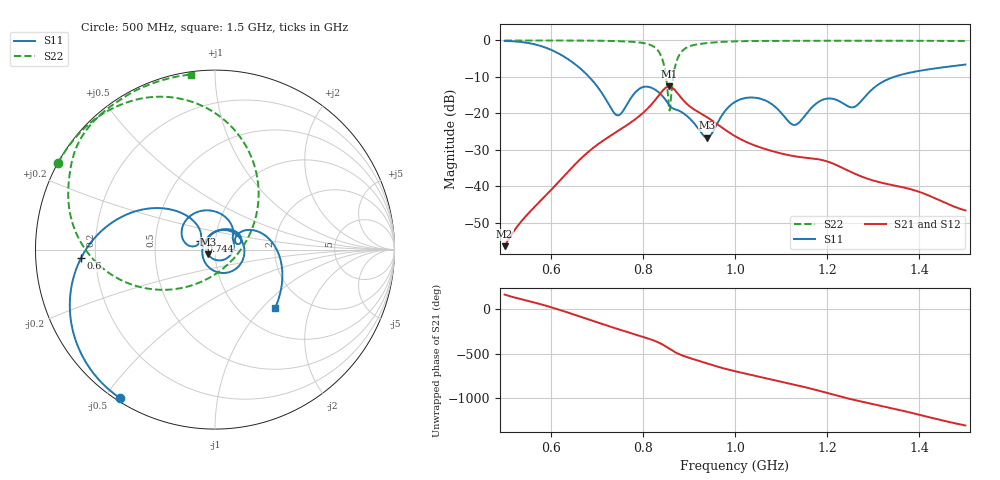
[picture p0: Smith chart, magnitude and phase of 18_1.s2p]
! TOUCHSTONE file generated by CST MICROWAVE STUDIO
! Date and time: Fri Oct  2 18:39:40 2020
! Project name: Scenario_1_Free_Space_out_of_line.cst
! Parameters = {Lambda=346.42; Step_1=17.321; dy1=52.843; dx1=173; L_HA=400; MT=2.54; Rad_Dielectric=30; Rad_Lower=7.3; Rad_Upper=30; a_HA=580; a_WG=246; b_HA=500; b_WG=121; c_HA=0; c_WG=187; d_feed=85; h_feed=15; h_lower=18; h_upper=40}
! Header version: 2018
! Port assignment regex: !\s*Touchstone port\s*([0-9]+)\s*=\s*(CST MWS port|CST DS port)\s*([0-9]+|Zmin|Zmax)\s*\(\"(.*)\"\)(\s*mode\s*([0-9]+))?.*
! Touchstone port assignment:
! Touchstone port 1 = CST MWS port 1 ("")
! Touchstone port 2 = CST MWS port 2 ("")
# GHz S DB R 50
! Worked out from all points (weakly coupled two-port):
!   1003 points, 500 MHz to 1.5 GHz, reference 50 ohm
!   highest |S21| = -12.62 dB at 857 MHz (marker M1); lowest = -56.4 dB at 500 MHz (marker M2)
!   lowest |S11| = -26.6 dB at 939 MHz (marker M3), VSWR 1.10, Z = 46.2 - j2.36 ohm
!   |S11| at or under -10 dB: 683.4 MHz to 1.345 GHz (661.5 MHz wide, 65.2 % of centre)
!   |S22| runs from -19.2 to 0.0 dB; largest |S21 - S12| = 7.7e-05
!   S11 on the Smith chart (normalised r, x): 500 MHz: 0.01, -0.55; 600 MHz: 0.14, -0.03; 744 MHz: 0.85, +0.08; 1.5 GHz: 1.43, -1.19
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0.5  -0.16 -122.7  -56.38 166.6  -56.38 166.6  -0.01 151.1
0.556  -0.81 -150.5  -46.80 87.9  -46.80 87.9  -0.01 147.3
0.6  -2.53 -176.5  -41.08 24.5  -41.09 24.4  -0.02 144.0
0.667  -7.99 144.5  -32.21 -89.3  -32.21 -89.3  -0.05 138.2
0.744  -20.50 149.4  -24.97 139.7  -24.97 139.7  -0.18 128.4
0.795  -13.06 143.9  -20.45 58.1  -20.45 58.1  -0.59 115.4
0.819  -12.99 102.7  -17.49 16.3  -17.49 16.3  -1.38 101.5
0.834  -14.18 76.0  -15.16 -15.3  -15.16 -15.3  -2.97 84.4
0.847  -15.90 53.5  -13.23 -50.7  -13.23 -50.7  -7.43 55.3
0.857  -17.67 39.7  -12.62 -83.7  -12.62 -83.7  -18.65 -23.3
0.861  -18.26 36.0  -12.74 -97.1  -12.74 -97.1  -15.88 -101.5
0.868  -18.80 29.3  -13.42 -119.2  -13.42 -119.2  -8.39 -144.0
0.886  -19.79 0.9  -16.13 -162.5  -16.13 -162.5  -2.81 179.8
0.939  -26.64 -146.9  -21.01 108.2  -21.01 108.2  -0.73 151.3
1  -16.85 38.1  -26.22 20.5  -26.22 20.5  -0.25 140.2
1.062  -16.25 -49.8  -29.62 -53.3  -29.62 -53.3  -0.14 133.0
1.128  -23.16 168.9  -31.71 -130.8  -31.71 -130.8  -0.11 127.1
1.167  -18.34 69.3  -32.32 -179.5  -32.32 -179.5  -0.11 124.0
1.204  -15.90 28.1  -33.33 128.2  -33.33 128.2  -0.10 121.2
1.259  -18.22 24.8  -36.47 55.4  -36.47 55.4  -0.08 117.0
1.334  -10.53 13.8  -39.44 -30.3  -39.44 -30.3  -0.09 111.3
1.5  -6.62 -44.1  -46.58 127.5  -46.67 128.2  -0.14 97.7
